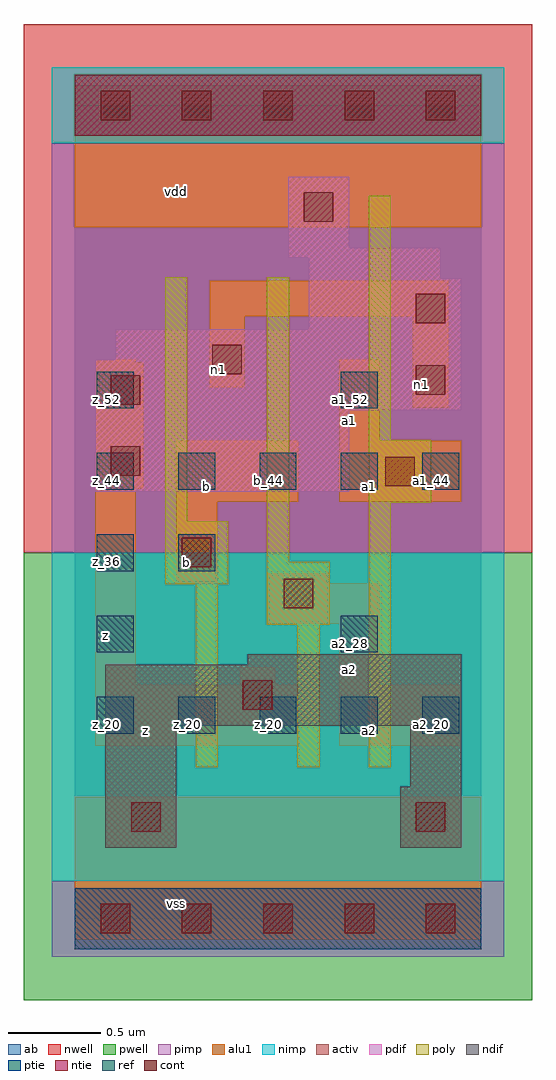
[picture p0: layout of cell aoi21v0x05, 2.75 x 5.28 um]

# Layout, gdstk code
import gdstk
lib = gdstk.Library(unit=1e-6, precision=2.5e-09)
def R(c, l, rs):  # rectangles x0, y0, x1, y1
    for r in rs: c.add(gdstk.rectangle(r[:2], r[2:], *l))
def A(c, l, x, y, w, h, nx, ny, dx, dy):  # array of equal rectangles
    R(c, l, [(x+i*dx, y+j*dy, x+i*dx+w, y+j*dy+h) for i in range(nx) for j in range(ny)])
ndif = (3, 0)
pdif = (4, 0)
ntie = (5, 0)
ptie = (6, 0)
ref = (24, 0)
cont = (25, 0)
pwell = (41, 0)
nwell = (42, 0)
activ = (43, 0)
pimp = (44, 0)
nimp = (45, 0)
poly = (46, 0)
alu1 = (49, 0)
ab = (63, 0)

aoi21v0x05 = lib.new_cell('aoi21v0x05')
R(aoi21v0x05, ndif, [(0.165,0.385,0.55,1.045), (1.76,0.385,2.09,0.715), (1.815,0.715,2.09,1.045), (0.165,1.045,2.09,1.375), (0.935,1.375,2.09,1.43)])
R(aoi21v0x05, pdif, [(0.11,2.31,1.485,2.75), (0.11,2.75,2.09,3.025), (0.22,3.025,2.09,3.19), (1.265,3.19,2.09,3.465), (1.265,3.465,1.98,3.575), (1.155,3.575,1.98,3.63), (1.155,3.63,1.485,4.015)])
R(aoi21v0x05, ntie, [(0,4.235,2.2,4.565)])
R(aoi21v0x05, ptie, [(0,-0.165,2.2,0.165)])
A(aoi21v0x05, ref, 0.12, 1, 0.2, 0.2, 5, 2, 0.44, 1.32)
R(aoi21v0x05, ref, [(0.12,1.44,0.32,1.64), (1.44,1.44,1.64,1.64), (0.12,1.88,0.32,2.08), (0.56,1.88,0.76,2.08), (0.12,2.76,0.32,2.96), (1.44,2.76,1.64,2.96)])
A(aoi21v0x05, cont, 0.14, -0.08, 0.16, 0.16, 5, 2, 0.44, 4.4)
R(aoi21v0x05, cont, [(0.305,0.47,0.465,0.63), (1.845,0.47,2.005,0.63), (0.91,1.13,1.07,1.29), (1.13,1.68,1.29,1.84), (0.58,1.9,0.74,2.06), (1.68,2.34,1.84,2.5), (0.195,2.395,0.355,2.555), (0.195,2.78,0.355,2.94), (1.845,2.835,2.005,2.995), (0.745,2.945,0.905,3.105), (1.845,3.22,2.005,3.38), (1.24,3.77,1.4,3.93)])
R(aoi21v0x05, pwell, [(-0.275,-0.44,2.475,1.98)])
R(aoi21v0x05, nwell, [(-0.275,1.98,2.475,4.84)])
R(aoi21v0x05, activ, [(0,-0.165,2.2,0.165), (0.165,0.385,0.55,1.045), (1.76,0.385,2.09,0.715), (1.815,0.715,2.09,1.045), (0.165,1.045,2.09,1.375), (0.935,1.375,2.09,1.43), (0.11,2.31,1.485,2.75), (0.11,2.75,2.09,3.025), (0.22,3.025,2.09,3.19), (1.265,3.19,2.09,3.465), (1.265,3.465,1.98,3.575), (1.155,3.575,1.98,3.63), (1.155,3.63,1.485,4.015), (0,4.235,2.2,4.565)])
R(aoi21v0x05, pimp, [(-0.125,-0.205,2.325,0.205), (-0.125,1.98,2.325,4.195)])
R(aoi21v0x05, nimp, [(-0.125,0.205,2.325,1.98), (-0.125,4.195,2.325,4.605)])
R(aoi21v0x05, poly, [(0.655,0.82,0.775,1.81), (1.205,0.82,1.325,1.59), (1.59,0.82,1.71,2.25), (1.04,1.59,1.38,1.93), (0.49,1.81,0.83,2.15), (1.04,1.93,1.16,3.47), (0.49,2.15,0.61,3.47), (1.59,2.25,1.93,2.59), (1.59,2.59,1.71,3.91)])
R(aoi21v0x05, alu1, [(0,-0.11,2.2,0.66), (0.11,0.935,1.21,1.265), (1.43,0.935,2.09,1.265), (0.11,1.265,0.33,2.325), (0.895,1.265,1.085,1.36), (1.43,1.265,1.65,1.595), (1.045,1.595,1.65,1.815), (0.55,1.815,0.77,2.255), (1.045,1.815,1.375,1.87), (0.55,2.255,1.21,2.585), (1.43,2.255,2.09,2.585), (0.11,2.325,0.37,3.01), (1.43,2.585,1.65,3.025), (1.83,2.765,2.02,3.26), (0.73,2.875,0.92,3.26), (0.11,3.01,0.33,3.025), (0.73,3.26,2.02,3.45), (0,3.74,2.2,4.51)])
R(aoi21v0x05, ab, [(0,0,2.2,4.4)])
aoi21v0x05.add(gdstk.Label('vss', (0.55,0.0825), layer=49, texttype=0))
aoi21v0x05.add(gdstk.Label('a2', (1.595,1.0175), layer=49, texttype=0))
aoi21v0x05.add(gdstk.Label('z', (0.385,1.0175), layer=49, texttype=0))
aoi21v0x05.add(gdstk.Label('a2', (1.485,1.3475), layer=49, texttype=0))
aoi21v0x05.add(gdstk.Label('b', (0.605,1.925), layer=49, texttype=0))
aoi21v0x05.add(gdstk.Label('a1', (1.595,2.3375), layer=49, texttype=0))
aoi21v0x05.add(gdstk.Label('b', (0.715,2.3375), layer=49, texttype=0))
aoi21v0x05.add(gdstk.Label('z', (0.165,1.53), layer=49, texttype=0))
aoi21v0x05.add(gdstk.Label('n1', (1.8775,2.8875), layer=49, texttype=0))
aoi21v0x05.add(gdstk.Label('a1', (1.485,2.695), layer=49, texttype=0))
aoi21v0x05.add(gdstk.Label('n1', (0.7775,2.97), layer=49, texttype=0))
aoi21v0x05.add(gdstk.Label('vdd', (0.55,3.9325), layer=49, texttype=0))
aoi21v0x05.add(gdstk.Label('b_44', (0.61,2.37), layer=24, texttype=0))
aoi21v0x05.add(gdstk.Label('z_52', (0.17,2.81), layer=24, texttype=0))
aoi21v0x05.add(gdstk.Label('z_44', (0.17,2.37), layer=24, texttype=0))
aoi21v0x05.add(gdstk.Label('z_36', (0.17,1.93), layer=24, texttype=0))
aoi21v0x05.add(gdstk.Label('z_28', (0.17,1.49), layer=24, texttype=0))
aoi21v0x05.add(gdstk.Label('z_20', (0.17,1.05), layer=24, texttype=0))
aoi21v0x05.add(gdstk.Label('a1_44', (1.93,2.37), layer=24, texttype=0))
aoi21v0x05.add(gdstk.Label('a2_20', (1.93,1.05), layer=24, texttype=0))
aoi21v0x05.add(gdstk.Label('a1_52', (1.49,2.81), layer=24, texttype=0))
aoi21v0x05.add(gdstk.Label('a1_44', (1.49,2.37), layer=24, texttype=0))
aoi21v0x05.add(gdstk.Label('a2_28', (1.49,1.49), layer=24, texttype=0))
aoi21v0x05.add(gdstk.Label('a2_20', (1.49,1.05), layer=24, texttype=0))
aoi21v0x05.add(gdstk.Label('b_44', (1.05,2.37), layer=24, texttype=0))
aoi21v0x05.add(gdstk.Label('z_20', (1.05,1.05), layer=24, texttype=0))
aoi21v0x05.add(gdstk.Label('b_36', (0.61,1.93), layer=24, texttype=0))
aoi21v0x05.add(gdstk.Label('z_20', (0.61,1.05), layer=24, texttype=0))

lib.write_gds('aoi21v0x05.gds')
